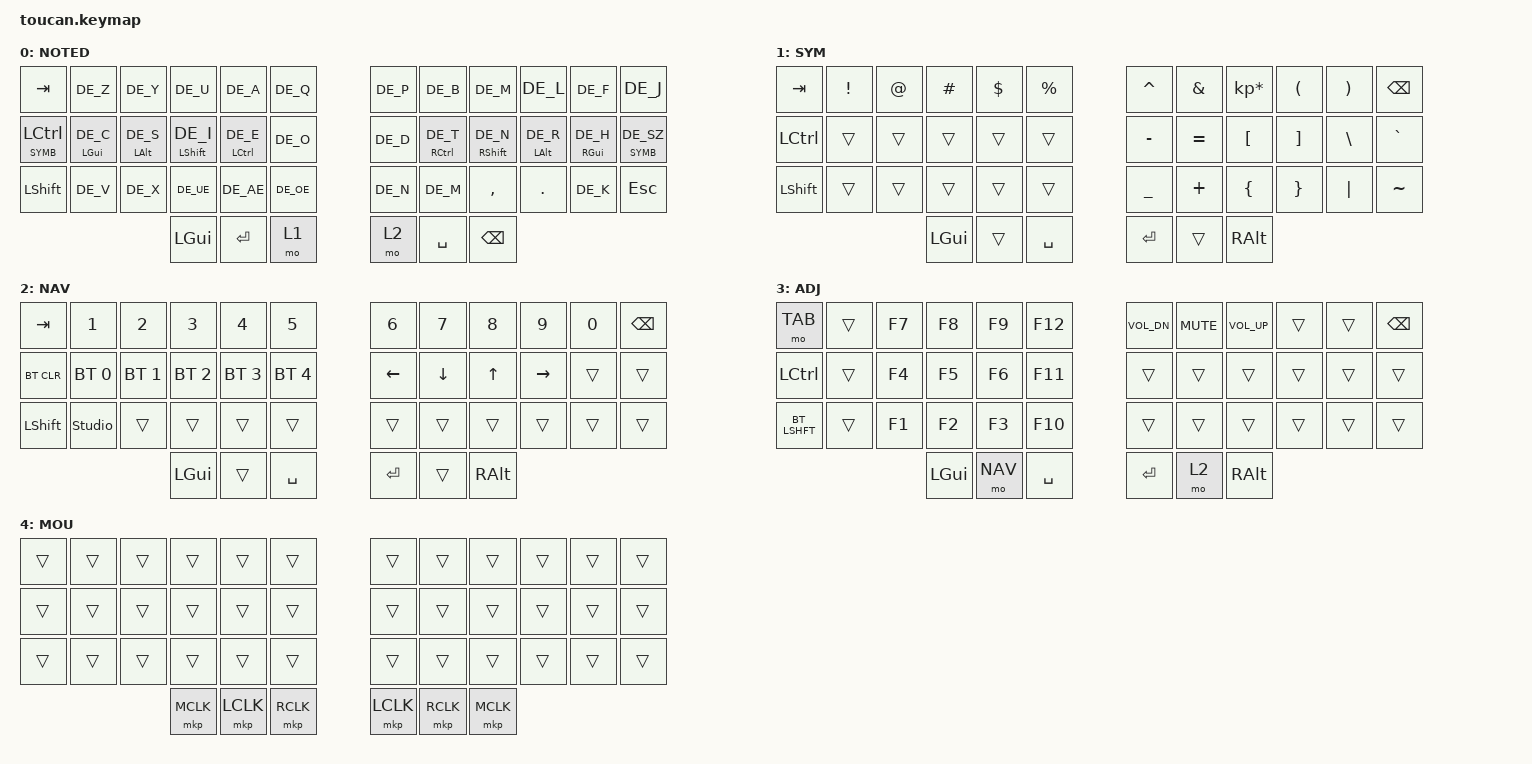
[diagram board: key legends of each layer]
#include <behaviors.dtsi>
#include <dt-bindings/zmk/keys.h>
#include <dt-bindings/zmk/bt.h>
#include <dt-bindings/zmk/outputs.h>
#include <dt-bindings/zmk/pointing.h>

// Deutsche Layout-Übersetzungen importieren
#include "keys_de.h"

#define NOTED  0
#define QWERTZ 1
#define SYMB   2
#define NAVI   3
#define FUNC   4

/ {
    behaviors {
        // Home Row Mods Anpassung (HRM)
        hm: home_row_mods {
            compatible = "zmk,behavior-hold-tap";
            #binding-cells = <2>;
            tapping-term-ms = <200>;
            quick-tap-ms = <0>;
            flavor = "tap-preferred";
            bindings = <&kp>, <&kp>;
        };

        // Layer Tap für Daumen / Außenbahnen
        lt_b: layer_taps {
            compatible = "zmk,behavior-hold-tap";
            #binding-cells = <2>;
            tapping-term-ms = <200>;
            quick-tap-ms = <0>;
            flavor = "tap-preferred";
            bindings = <&mo>, <&kp>;
        };
    };

    combos {
        compatible = "zmk,combos";

        // Globaler Daumen-Combo (ESC Daumen + TAB Daumen) -> Öffnet FUNC Layer
        combo_thumb_func {
            timeout-ms = <50>;
            key-positions = <37 38>; 
            bindings = <&mo FUNC>;
        };

    };

    keymap {
        compatible = "zmk,keymap";

        noted {
            display-name = "NOTED";
            bindings = <
                &kp TAB          &kp DE_Z      &kp DE_Y      &kp DE_U       &kp DE_A       &kp DE_Q      &kp DE_P &kp DE_B       &kp DE_M       &kp DE_L      &kp DE_F      &kp DE_J
                &lt_b SYMB LCTRL &hm LGUI DE_C &hm LALT DE_S &hm LSHFT DE_I &hm LCTRL DE_E &kp DE_O      &kp DE_D &hm RCTRL DE_T &hm RSHFT DE_N &hm LALT DE_R &hm RGUI DE_H &lt_b SYMB DE_SZ
                &kp LSHFT        &kp DE_V      &kp DE_X      &kp DE_UE      &kp DE_AE      &kp DE_OE     &kp DE_N &kp DE_M       &kp COMMA      &kp DOT       &kp DE_K      &kp ESC
                                                  &kp LGUI &kp RET &mo 1   &mo 2 &kp SPACE &kp BSPC
            >;
        };

        symb {
            display-name = "SYM";
            bindings = <
                &kp TAB   &kp EXCL &kp AT &kp HASH &kp DLLR &kp PRCNT   &kp CARET &kp AMPS  &kp KP_MULTIPLY &kp LPAR &kp RPAR &kp BSPC
                &kp LCTRL &trans   &trans &trans   &trans   &trans      &kp MINUS &kp EQUAL &kp LBKT        &kp RBKT &kp BSLH &kp GRAVE
                &kp LSHFT &trans   &trans &trans   &trans   &trans      &kp UNDER &kp PLUS  &kp LBRC        &kp RBRC &kp PIPE &kp TILDE
                                          &kp LGUI &trans   &kp SPACE   &kp RET   &trans    &kp RALT
            >;
        };

        navi {
            display-name = "NAV";
            bindings = <
                &kp TAB     &kp N1          &kp N2       &kp N3       &kp N4       &kp N5         &kp N6   &kp N7   &kp N8 &kp N9    &kp N0 &kp BSPC
                &bt BT_CLR  &bt BT_SEL 0    &bt BT_SEL 1 &bt BT_SEL 2 &bt BT_SEL 3 &bt BT_SEL 4   &kp LEFT &kp DOWN &kp UP &kp RIGHT &trans &trans
                &kp LSHFT   &studio_unlock  &trans       &trans       &trans       &trans         &trans   &trans   &trans &trans    &trans &trans
                                                &kp LGUI     &trans       &kp SPACE      &kp RET  &trans   &kp RALT
            >;
        };

        func {
            display-name = "ADJ";
            bindings = <
                &mo TAB   &trans &kp F7 &kp F8 &kp F9 &kp F12   &kp C_VOL_DN &kp C_MUTE  &kp C_VOL_UP &trans &trans &kp BSPC
                &kp LCTRL &trans &kp F4 &kp F5 &kp F6 &kp F11   &trans       &trans      &trans       &trans &trans &trans
                &bt LSHFT &trans &kp F1 &kp F2 &kp F3 &kp F10   &trans       &trans      &trans       &trans &trans &trans
                                   &kp LGUI &mo NAV &kp SPACE   &kp RET &mo 2 &kp RALT
            >;
        };

        mouse {
            display-name = "MOU";
            bindings = <
                &trans &trans &trans &trans &trans &trans           &trans &trans &trans &trans &trans &trans
                &trans &trans &trans &trans &trans &trans           &trans &trans &trans &trans &trans &trans
                &trans &trans &trans &trans &trans &trans           &trans &trans &trans &trans &trans &trans
                            &mkp MCLK &mkp LCLK &mkp RCLK           &mkp LCLK &mkp RCLK &mkp MCLK
            >;
        };

        extra_2 {
                status = "reserved";
        };

        extra_3 {
                status = "reserved";
        };
    };
};
